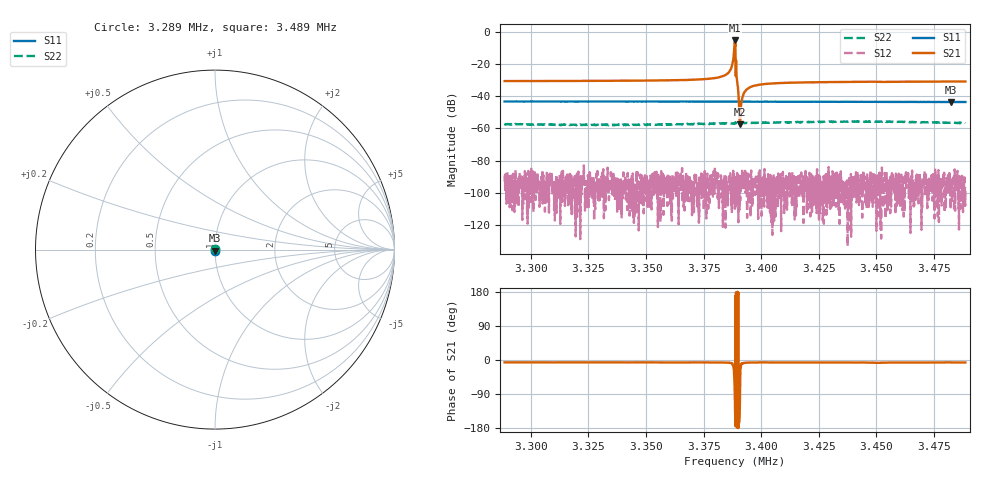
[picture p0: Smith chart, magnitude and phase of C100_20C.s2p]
# Hz S dB R 50.000
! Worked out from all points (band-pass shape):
!   6401 points, 3.289 MHz to 3.489 MHz, reference 50 ohm
!   highest |S21| = -5.46 dB at 3.389 MHz (marker M1); lowest = -57.5 dB at 3.391 MHz (marker M2)
!   |S21| within 3 dB of the highest: 3.38836 MHz to 3.388664 MHz (304.5 Hz wide, 0.00898 % of centre); 3.388729 MHz to 3.388761 MHz (31.74 Hz wide, 0.000937 % of centre)
!   lowest |S11| = -43.6 dB at 3.482 MHz (marker M3), VSWR 1.01, Z = 50 - j0.659 ohm
!   |S11| at or under -10 dB: start of sweep to end of sweep
!   |S22| runs from -58.1 to -55.5 dB; largest |S21 - S12| = 0.53
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3288594  -43.26 -90.0  -30.63 -6.3  -92.87 141.9  -57.15 97.3
3321938  -43.30 -89.0  -30.52 -6.2  -99.93 90.0  -57.81 97.9
3355282  -43.33 -88.0  -30.22 -6.4  -89.50 115.0  -57.57 98.6
3382032  -43.35 -89.3  -28.15 -6.4  -91.52 103.6  -56.94 96.8
3385688  -43.38 -89.5  -25.51 -7.1  -96.03 161.9  -56.88 98.0
3386906  -43.36 -89.6  -22.90 -8.2  -105.47 -29.2  -56.81 98.4
3387469  -43.39 -89.5  -19.90 -8.9  -96.84 -129.6  -56.87 98.2
3387844  -43.38 -89.5  -17.24 -16.7  -89.06 -148.4  -57.01 98.8
3388594  -43.37 -89.6  -5.46 -111.7  -103.24 90.2  -56.25 101.0
3389219  -43.38 -89.7  -27.14 -152.7  -93.65 153.3  -56.65 96.4
3389875  -43.34 -89.5  -34.81 -171.4  -97.09 73.1  -56.58 97.2
3390156  -43.35 -89.8  -39.89 -167.6  -92.97 -142.1  -57.01 97.2
3390750  -43.38 -89.8  -57.50 -93.4  -98.27 -7.5  -56.72 98.5
3391344  -43.38 -89.9  -44.10 -11.3  -92.35 47.5  -56.70 96.7
3392156  -43.36 -89.8  -39.08 -8.6  -92.92 41.7  -56.55 97.1
3393125  -43.39 -89.8  -36.67 -7.3  -92.46 92.6  -56.60 97.9
3396406  -43.36 -90.0  -33.72 -6.6  -93.33 -168.1  -56.62 97.5
3404656  -43.40 -89.9  -32.10 -6.4  -91.12 33.5  -56.50 98.6
3421938  -43.45 -89.3  -31.39 -6.6  -105.90 87.2  -56.05 103.5
3455282  -43.48 -88.0  -31.12 -6.7  -107.35 -135.1  -55.82 105.4
3482344  -43.62 -87.5  -30.89 -6.3  -97.26 64.3  -56.49 100.1
3488594  -43.59 -87.7  -30.89 -6.6  -96.31 -160.8  -56.66 99.4
